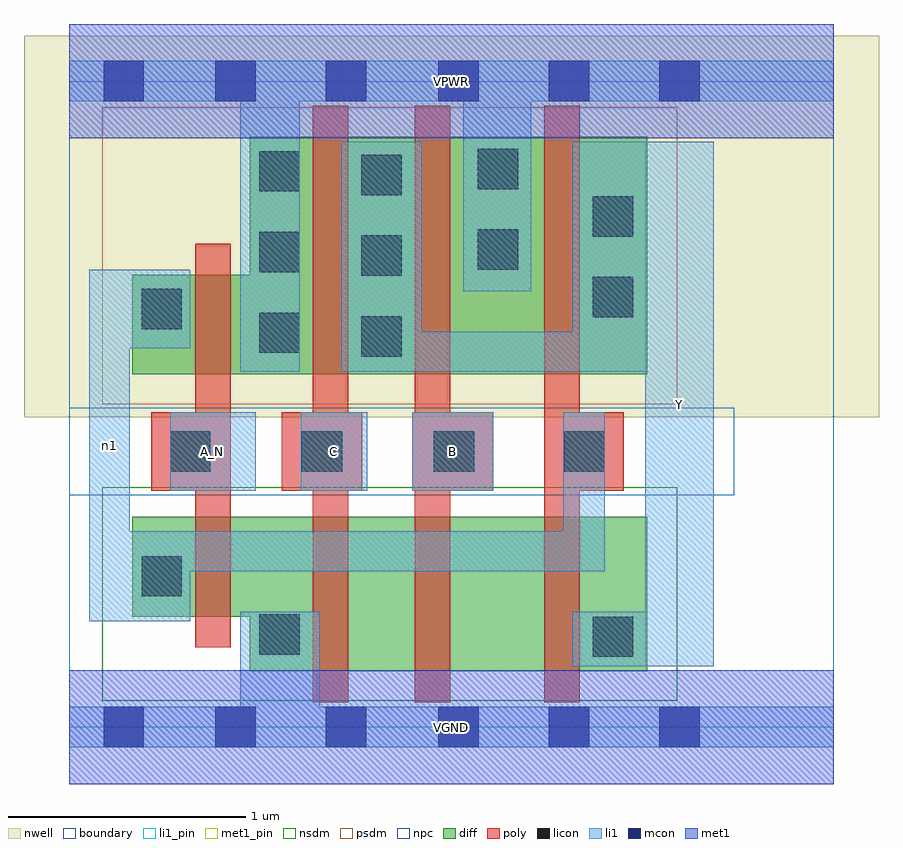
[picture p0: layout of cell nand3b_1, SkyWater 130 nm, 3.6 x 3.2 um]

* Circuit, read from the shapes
.subckt nand3b_1 A_N B C VGND VPWR Y n1
XM1 VGND A_N n1 VSUBS sky130_fd_pr__nfet_01v8 w=0.42 l=0.15
XM2 n2 C VGND VSUBS sky130_fd_pr__nfet_01v8 w=0.65 l=0.15
XM3 n3 B n2 VSUBS sky130_fd_pr__nfet_01v8 w=0.65 l=0.15
XM4 Y n1 n3 VSUBS sky130_fd_pr__nfet_01v8 w=0.65 l=0.15
XM5 VPWR A_N n1 n4 sky130_fd_pr__pfet_01v8 w=0.42 l=0.15
XM6 Y C VPWR n4 sky130_fd_pr__pfet_01v8 w=1 l=0.15
XM7 VPWR B Y n4 sky130_fd_pr__pfet_01v8 w=1 l=0.15
XM8 Y n1 VPWR n4 sky130_fd_pr__pfet_01v8 w=1 l=0.15
.ends

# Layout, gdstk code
import gdstk
lib = gdstk.Library(unit=1e-6, precision=1e-09)
def R(c, l, rs):  # rectangles x0, y0, x1, y1
    for r in rs: c.add(gdstk.rectangle(r[:2], r[2:], *l))
def A(c, l, x, y, w, h, nx, ny, dx, dy):  # array of equal rectangles
    R(c, l, [(x+i*dx, y+j*dy, x+i*dx+w, y+j*dy+h) for i in range(nx) for j in range(ny)])
nwell = (64, 20)
diff = (65, 20)
poly = (66, 20)
licon = (66, 44)
li1_pin = (67, 16)
li1 = (67, 20)
mcon = (67, 44)
met1_pin = (68, 16)
met1 = (68, 20)
nsdm = (93, 44)
psdm = (94, 20)
npc = (95, 20)
boundary = (235, 4)

nand3b_1 = lib.new_cell('nand3b_1')
R(nand3b_1, nwell, [(-0.19,1.305,3.41,2.91), (0,1.305,3.22,2.91)])
R(nand3b_1, diff, [(0.76,0.235,2.435,0.885), (0.265,0.465,2.435,0.885), (0.265,1.485,2.435,1.905), (0.76,1.485,2.435,2.485)])
R(nand3b_1, poly, [(1.025,0.105,1.175,2.615), (1.455,0.105,1.605,2.615), (2,0.105,2.15,2.615), (0.53,0.335,0.68,2.035), (0.345,0.995,0.68,1.325), (0.895,0.995,1.235,1.325), (1.445,0.995,1.785,1.325), (2,0.995,2.335,1.325)])
A(nand3b_1, licon, 0.425, 1.075, 0.17, 0.17, 3, 1, 0.555, 0)
A(nand3b_1, licon, 1.23, 1.56, 0.17, 0.17, 1, 3, 0, 0.34)
A(nand3b_1, licon, 0.8, 1.575, 0.17, 0.17, 1, 3, 0, 0.34)
R(nand3b_1, licon, [(2.205,0.295,2.375,0.465), (0.8,0.305,0.97,0.475), (0.305,0.55,0.475,0.72), (2.085,1.075,2.255,1.245), (0.305,1.675,0.475,1.845), (2.205,1.725,2.375,1.895), (1.72,1.925,1.89,2.095), (2.205,2.065,2.375,2.235), (1.72,2.265,1.89,2.435)])
R(nand3b_1, li1_pin, [(2.425,0.255,2.715,2.465), (0.425,0.995,0.785,1.325), (0.975,0.995,1.255,1.325), (1.445,0.995,1.785,1.325)])
R(nand3b_1, li1, [(0,-0.085,3.22,0.085), (0.72,-0.085,1.055,0.485), (2.12,0.255,2.715,0.485), (2.425,0.255,2.715,2.465), (0.085,0.445,0.255,1.925), (0.085,0.445,0.51,0.825), (0.085,0.655,2.255,0.825), (2.08,0.655,2.255,1.325), (0.425,0.995,0.785,1.325), (0.975,0.995,1.255,1.325), (1.445,0.995,1.785,1.325), (0.72,1.495,0.97,2.805), (1.145,1.495,1.485,2.465), (1.145,1.495,2.715,1.665), (2.12,1.495,2.425,2.465), (0.085,1.595,0.51,1.925), (1.66,1.835,1.945,2.805), (0,2.635,3.22,2.805)])
A(nand3b_1, mcon, 1.555, -0.085, 0.17, 0.17, 3, 2, 0.465, 2.72)
R(nand3b_1, mcon, [(0.145,-0.085,0.315,0.085), (0.615,-0.085,0.785,0.085), (1.08,-0.085,1.25,0.085), (0.145,2.635,0.315,2.805), (0.615,2.635,0.785,2.805), (1.08,2.635,1.25,2.805)])
R(nand3b_1, met1_pin, [(0,-0.24,3.22,0.24), (0,2.48,3.22,2.96)])
R(nand3b_1, met1, [(0,-0.24,3.22,0.24), (0,2.48,3.22,2.96)])
R(nand3b_1, nsdm, [(0.14,0.11,2.56,1.01)])
R(nand3b_1, psdm, [(0.14,1.36,2.56,2.61)])
R(nand3b_1, npc, [(0,0.975,2.8,1.345)])
R(nand3b_1, boundary, [(0,0,3.22,2.72)])
nand3b_1.add(gdstk.Label('A_N', (0.605,1.16), layer=67, texttype=5))
nand3b_1.add(gdstk.Label('B', (1.615,1.16), layer=67, texttype=5))
nand3b_1.add(gdstk.Label('C', (1.115,1.16), layer=67, texttype=5))
nand3b_1.add(gdstk.Label('Y', (2.57,1.36), layer=67, texttype=5))
nand3b_1.add(gdstk.Label('n1', (0.17,1.185), layer=67, texttype=5))
nand3b_1.add(gdstk.Label('VPWR', (1.61,2.72), layer=68, texttype=5))
nand3b_1.add(gdstk.Label('VGND', (1.61,0), layer=68, texttype=5))
nand3b_1.add(gdstk.Label('A_N', (0.605,1.16), layer=67, texttype=16))
nand3b_1.add(gdstk.Label('B', (1.615,1.16), layer=67, texttype=16))
nand3b_1.add(gdstk.Label('C', (1.115,1.16), layer=67, texttype=16))
nand3b_1.add(gdstk.Label('Y', (2.57,1.36), layer=67, texttype=16))
nand3b_1.add(gdstk.Label('VPWR', (1.61,2.72), layer=68, texttype=16))
nand3b_1.add(gdstk.Label('VGND', (1.61,0), layer=68, texttype=16))

lib.write_gds('nand3b_1.gds')
